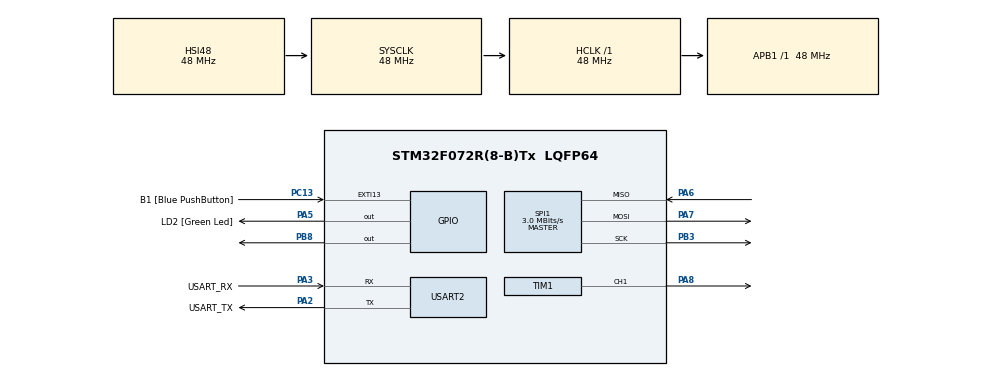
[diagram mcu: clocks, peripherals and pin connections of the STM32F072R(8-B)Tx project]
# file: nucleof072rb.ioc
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Mcu.Family=STM32F0
Mcu.Name=STM32F072R(8-B)Tx
Mcu.Package=LQFP64
PA13.GPIO_Label=TMS
PA13.Mode=Serial_Wire
PA13.Signal=SYS_SWDIO
PA14.GPIO_Label=TCK
PA14.Mode=Serial_Wire
PA14.Signal=SYS_SWCLK
PA2.GPIO_Label=USART_TX
PA2.GPIO_Mode=GPIO_MODE_AF_PP
PA2.GPIO_PuPd=GPIO_NOPULL
PA2.GPIO_Speed=GPIO_SPEED_FREQ_LOW
PA2.Mode=Asynchronous
PA2.Signal=USART2_TX
PA3.GPIO_Label=USART_RX
PA3.GPIO_Mode=GPIO_MODE_AF_PP
PA3.GPIO_PuPd=GPIO_NOPULL
PA3.GPIO_Speed=GPIO_SPEED_FREQ_LOW
PA3.Mode=Asynchronous
PA3.Signal=USART2_RX
PA5.GPIO_Label=LD2 [Green Led]
PA5.GPIO_Mode=GPIO_MODE_OUTPUT_PP
PA5.GPIO_PuPd=GPIO_NOPULL
PA5.GPIO_Speed=GPIO_SPEED_FREQ_LOW
PA5.Signal=GPIO_Output
PA6.Mode=Full_Duplex_Master
PA6.Signal=SPI1_MISO
PA7.Mode=Full_Duplex_Master
PA7.Signal=SPI1_MOSI
PA8.Signal=S_TIM1_CH1
PB3.Mode=Full_Duplex_Master
PB3.Signal=SPI1_SCK
PB8.PinState=GPIO_PIN_SET
PB8.Signal=GPIO_Output
PC13.GPIO_Label=B1 [Blue PushButton]
PC13.GPIO_ModeDefaultEXTI=GPIO_MODE_IT_FALLING
PC13.Signal=GPXTI13
PC14-OSC32_IN.Mode=LSE-External-Oscillator
PC14-OSC32_IN.Signal=RCC_OSC32_IN
PC15-OSC32_OUT.Mode=LSE-External-Oscillator
PC15-OSC32_OUT.Signal=RCC_OSC32_OUT
PF0-OSC_IN.Mode=HSE-External-Clock-Source
PF0-OSC_IN.Signal=RCC_OSC_IN
PF1-OSC_OUT.Signal=RCC_OSC_OUT
ProjectManager.HeapSize=0x200
ProjectManager.StackSize=0x400
ProjectManager.TargetToolchain=STM32CubeIDE
RCC.AHBFreq_Value=48000000
RCC.APB1Freq_Value=48000000
RCC.APB1TimFreq_Value=48000000
RCC.FLatency-AdvancedSettings=FLASH_LATENCY_1
RCC.HCLKFreq_Value=48000000
RCC.PLLDivider=RCC_PREDIV_DIV2
RCC.PLLMUL=RCC_PLL_MUL12
RCC.PREFETCH_ENABLE-AdvancedSettings=1
RCC.SYSCLKFreq_VALUE=48000000
RCC.SYSCLKSource=RCC_SYSCLKSOURCE_HSI48
SH.S_TIM1_CH1.0=TIM1_CH1,PWM Generation1 CH1
SPI1.BaudRatePrescaler=SPI_BAUDRATEPRESCALER_16
SPI1.CalculateBaudRate=3.0 MBits/s
SPI1.DataSize=SPI_DATASIZE_8BIT
SPI1.Direction=SPI_DIRECTION_2LINES
SPI1.Mode=SPI_MODE_MASTER
SPI1.VirtualType=VM_MASTER
TIM1.AutoReloadPreload=TIM_AUTORELOAD_PRELOAD_ENABLE
TIM1.Channel-PWM\ Generation1\ CH1=TIM_CHANNEL_1
TIM1.Period=63999
TIM1.Prescaler=14
USART2.VirtualMode=VM_ASYNC
USART2.VirtualMode-Asynchronous=VM_ASYNC
VP_TIM1_VS_ClockSourceINT.Mode=Internal
board=NUCLEO-F072RB

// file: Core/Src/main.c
/* USER CODE BEGIN Header */
/**
  ******************************************************************************
  * @file           : main.c
  * @brief          : Main program body
  ******************************************************************************
  * @attention
  *
  * <h2><center>&copy; Copyright (c) 2021 STMicroelectronics.
  * All rights reserved.</center></h2>
  *
  * This software component is licensed by ST under BSD 3-Clause license,
  * the "License"; You may not use this file except in compliance with the
  * License. You may obtain a copy of the License at:
  *                        opensource.org/licenses/BSD-3-Clause
  *
  ******************************************************************************
  */
/* USER CODE END Header */
#include "main.h"
#include "spi.h"
#include "tim.h"
#include "usart.h"
#include "gpio.h"

/* USER CODE BEGIN PV */
uint8_t adc_tx_data[3] = {0b00000001, 0b10000000, 0b00000000}; // Data to send to ADC
uint8_t adc_rx_data[3] = {}; // Data received from ADC
uint32_t adc_value = 0;       // Raw ADC value (10 bits)
uint32_t pwm_counts = 0;      // PWM compare value in timer counts
uint32_t period = 0;
uint32_t offset = 0;
uint32_t range = 0;
/* USER CODE END PV */

void SystemClock_Config(void);

int main(void)
{

  /* MCU Configuration--------------------------------------------------------*/

  /* Reset of all peripherals, Initializes the Flash interface and the Systick. */
  HAL_Init();

  /* Configure the system clock */
  SystemClock_Config();

  /* Initialize all configured peripherals */
  MX_GPIO_Init();
  MX_USART2_UART_Init();
  MX_SPI1_Init();
  MX_TIM1_Init();
  /* USER CODE BEGIN 2 */

  period = htim1.Init.Period + 1;
  offset = period * 0.05;
  range = period * (0.1 - 0.05);

  // Start PWM generation on TIM1 Channel 1
  HAL_TIM_PWM_Start(&htim1, TIM_CHANNEL_1);

  /* USER CODE END 2 */

  /* Infinite loop */
  while (1)
  {

    /* USER CODE BEGIN 3 */

    // Pull CS low to select ADC
    HAL_GPIO_WritePin(GPIOB, GPIO_PIN_6, GPIO_PIN_RESET);

    // Send command to ADC and receive data (full duplex SPI)
    // adc_tx_data contains the channel and mode bits (consult ADC datasheet section 5)
    HAL_SPI_TransmitReceive(&hspi1, adc_tx_data, adc_rx_data, 3, 100);

    // Pull CS high to deselect ADC
    HAL_GPIO_WritePin(GPIOB, GPIO_PIN_6, GPIO_PIN_SET);

    // Extract 10-bit ADC value from received data
    adc_value = (adc_rx_data[1] << 8) | adc_rx_data[2];

    // Convert ADC value to PWM counts
    pwm_counts = offset + (adc_value * range / 1024);

    // Clamp to max period to avoid overflow
    if (pwm_counts > period) pwm_counts = period;

    // Update PWM duty cycle
    __HAL_TIM_SET_COMPARE(&htim1, TIM_CHANNEL_1, pwm_counts);

    // Delay to avoid overloading the ADC
    HAL_Delay(10);
  }
  /* USER CODE END 3 */
}

void SystemClock_Config(void)
{
  RCC_OscInitTypeDef RCC_OscInitStruct = {0};
  RCC_ClkInitTypeDef RCC_ClkInitStruct = {0};
  RCC_PeriphCLKInitTypeDef PeriphClkInit = {0};

  /** Initializes the RCC Oscillators according to the specified parameters
  * in the RCC_OscInitTypeDef structure.
  */
  RCC_OscInitStruct.OscillatorType = RCC_OSCILLATORTYPE_HSI48;
  RCC_OscInitStruct.HSI48State = RCC_HSI48_ON;
  RCC_OscInitStruct.PLL.PLLState = RCC_PLL_NONE;
  if (HAL_RCC_OscConfig(&RCC_OscInitStruct) != HAL_OK)
  {
    Error_Handler();
  }
  /** Initializes the CPU, AHB and APB buses clocks
  */
  RCC_ClkInitStruct.ClockType = RCC_CLOCKTYPE_HCLK|RCC_CLOCKTYPE_SYSCLK
                              |RCC_CLOCKTYPE_PCLK1;
  RCC_ClkInitStruct.SYSCLKSource = RCC_SYSCLKSOURCE_HSI48;
  RCC_ClkInitStruct.AHBCLKDivider = RCC_SYSCLK_DIV1;
  RCC_ClkInitStruct.APB1CLKDivider = RCC_HCLK_DIV1;

  if (HAL_RCC_ClockConfig(&RCC_ClkInitStruct, FLASH_LATENCY_1) != HAL_OK)
  {
    Error_Handler();
  }
  PeriphClkInit.PeriphClockSelection = RCC_PERIPHCLK_USART2;
  PeriphClkInit.Usart2ClockSelection = RCC_USART2CLKSOURCE_PCLK1;
  if (HAL_RCCEx_PeriphCLKConfig(&PeriphClkInit) != HAL_OK)
  {
    Error_Handler();
  }
}

void Error_Handler(void)
{
  __disable_irq();
  while (1)
  {
  }
}

/************************ (C) COPYRIGHT STMicroelectronics *****END OF FILE****/
